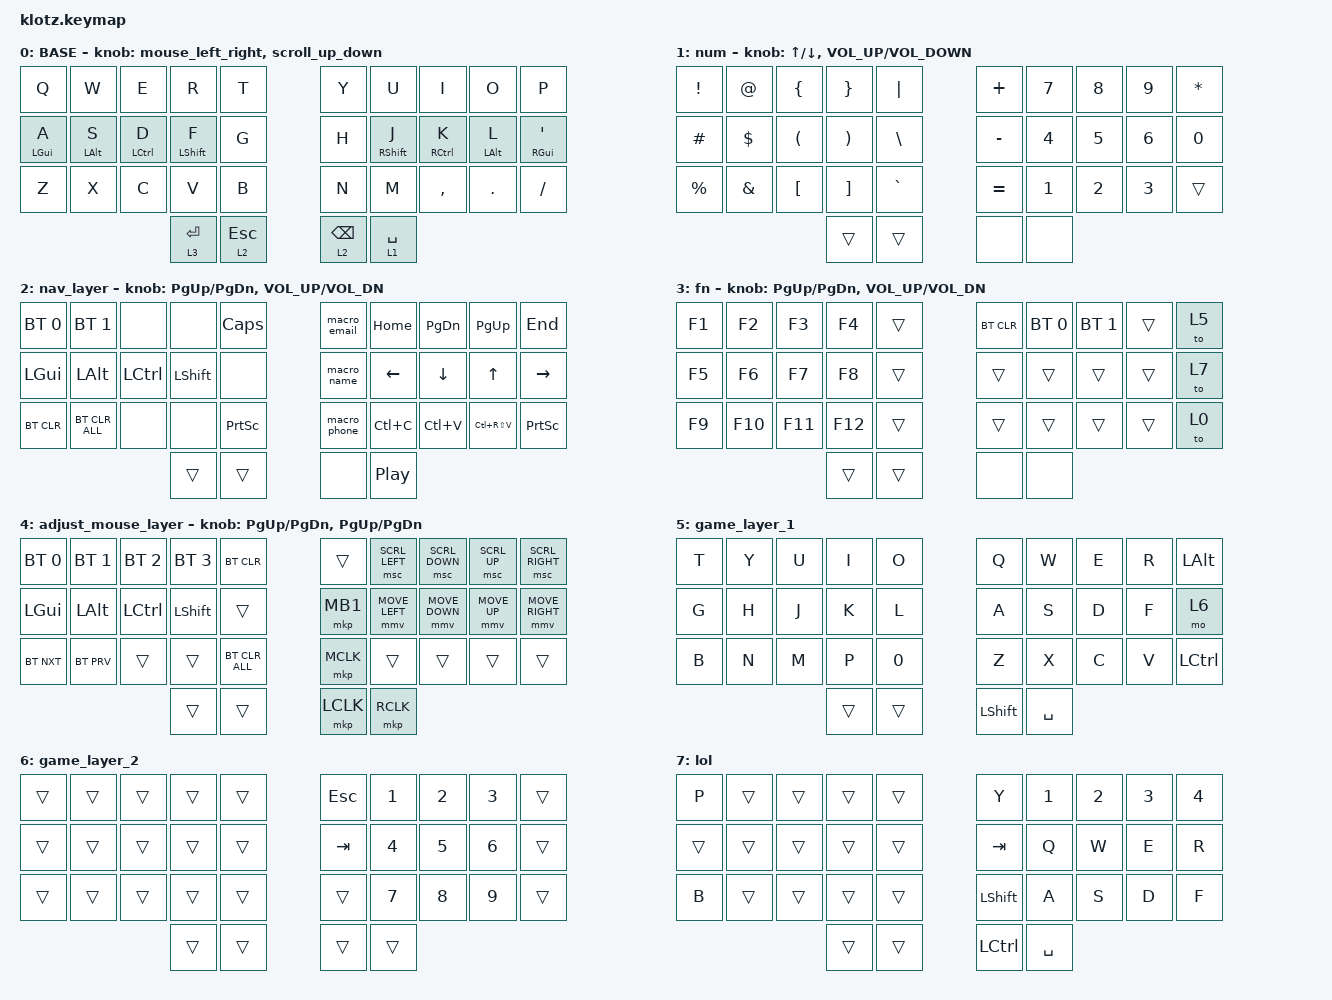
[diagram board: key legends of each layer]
//                                      █         ██        ▄▀▀▀▀▀▀▀▀▀▀█▀▀▀▀▀▀▀▀█▀▀▀▀▀▀▀▀▀▀█
//                                      █        █ █      ▄▀            ▀▄      █         █
//                                      █       █  █    ▄▀                ▀▄    █        █
//                                      █      █   █   █                    █   █       █
//                                      █     █    █   █                    █   █      █
//                                      █    █     █   █                    █   █  ▀▀▀█▀▀▀▀
//                                      █   █ █    █   █                    █   █    █
//                                      █  █   █   █   █                    █   █   █
//                                      █ █     █  █    ▀▄                ▄▀    █  █
//                                      ██       █ █      ▀▄            ▄▀      █ █
//                                      █         ██▄▄▄▄▄▄▄▄█▄▄▄▄▄▄▄▄▄▄▀        ██▄▄▄▄▄▄▄▄▄▄
//
// ▄▄▄▄▄▄▄▄▄▄▄▄▄▄▄▄▄▄▄▄▄▄▄▄▄▄▄▄▄▄▄▄▄▄▄▄▄▄▄▄▄▄▄▄▄▄▄▄▄▄▄▄▄▄▄▄▄▄▄▄▄▄▄▄▄▄▄▄▄▄▄▄▄▄▄▄▄▄▄▄▄▄▄▄▄▄▄▄▄▄▄▄▄▄▄▄▄▄▄▄▄▄▄▄▄▄▄▄▄▄▄▄▄▄▄▄▄▄▄▄▄▄▄▄▄

#include <behaviors.dtsi>
#include <dt-bindings/zmk/bt.h>
#include <dt-bindings/zmk/keys.h>
#include <dt-bindings/zmk/pointing.h>

#define ZMK_POINTING_DEFAULT_MOVE_VAL 2000  // default: 600
#define ZMK_POINTING_DEFAULT_SCRL_VAL 30   // default: 10
#define ZMK_MOUSE_SCRL_VAL 120
#define BASE 0
#define NAV  1
#define SYM  2
#define ADJ  3
#define JMP  4
#define OSL  5
#define COMBOMS 25

/ {
    combos {
        // BASE

        compatible = "zmk,combos";
        compatible = "zmk,combos";

        // GLOBAL

        compatible = "zmk,combos";
        compatible = "zmk,combos";
        compatible = "zmk,combos";
        compatible = "zmk,combos";
        compatible = "zmk,combos";

        combo_del {
            timeout-ms = <COMBOMS>;
            key-positions = <6 7>;
            bindings = <&kp DEL>;
            layers = <0>;
        };

        compatible = "zmk,combos";
        compatible = "zmk,combos";
        compatible = "zmk,combos";
        compatible = "zmk,combos";
        compatible = "zmk,combos";
        compatible = "zmk,combos";
        compatible = "zmk,combos";
        compatible = "zmk,combos";
        compatible = "zmk,combos";

        combo_tab {
            bindings = <&kp TAB>;
            key-positions = <22 21>;
            layers = <0>;
        };

        combo_tilde_caret {
            bindings = <&tilde_caret_morph>;
            key-positions = <18 19>;
            layers = <0>;
        };

        combo_semicolon {
            bindings = <&kp SEMICOLON>;
            key-positions = <27 28>;
            layers = <0>;
        };

        combo_caps_word {
            bindings = <&caps_word>;
            key-positions = <13 16>;
            layers = <0>;
        };

        combo_underscore {
            bindings = <&kp UNDERSCORE>;
            key-positions = <23 26>;
            layers = <0>;
        };

        combo_dash {
            bindings = <&kp MINUS>;
            key-positions = <3 6>;
            layers = <0>;
        };

        combo_three_backticks {
            bindings = <&macro_three_backticks>;
            key-positions = <24 23>;
            layers = <1>;
        };

        combo_reset_layer {
            bindings = <&to 0>;
            key-positions = <31 32>;
            layers = <5 7>;
        };

        alt_lol_combo {
            bindings = <&kp LEFT_ALT>;
            key-positions = <33 32>;
            layers = <7>;
        };

        shop_lol_combo {
            bindings = <&kp P>;
            key-positions = <5 15>;
            layers = <7>;
        };

        base_lol_combo {
            bindings = <&kp B>;
            key-positions = <25 15>;
            layers = <7>;
        };
    };

    macros {
        macro_email: email {
            compatible = "zmk,behavior-macro";
            #binding-cells = <0>;
            bindings = <&kp I &kp A &kp G &kp O &kp T &kp I &kp T &kp O &kp AT &kp G &kp M &kp A &kp I &kp L &kp DOT &kp C &kp O &kp M>;
        };

        macro_name: macro_name {
            compatible = "zmk,behavior-macro";
            #binding-cells = <0>;
            bindings = <&kp LS(I) &kp A &kp G &kp O &kp SPACE &kp LS(T) &kp I &kp T &kp O &kp SPACE &kp LS(O) &kp L &kp I &kp V &kp E &kp I &kp R &kp A>;
        };

        macro_phone: macro_phone {
            compatible = "zmk,behavior-macro";
            #binding-cells = <0>;
            bindings = <&kp N8 &kp N3 &kp N9 &kp N9 &kp N8 &kp N8 &kp N0 &kp N0 &kp N2 &kp N2 &kp N2>;
        };

        macro_three_backticks: macro_three_backticks {
            compatible = "zmk,behavior-macro";
            #binding-cells = <0>;
            bindings = <&kp GRAVE &kp GRAVE &kp GRAVE &kp GRAVE &kp GRAVE &kp GRAVE>;
            label = "MACRO_THREE_BACKTICKS";
        };
    };

    behaviors {
        skq: sticky_key_quick_release {
            compatible = "zmk,behavior-sticky-key";
            #binding-cells = <1>;
            bindings = <&kp>;
            release-after-ms = <2000>;
            quick-release;
            ignore-modifiers;
        };

        lhrm: left_home_row_mod {
            compatible = "zmk,behavior-hold-tap";
            bindings = <&kp>, <&kp>;

            #binding-cells = <2>;
            tapping-term-ms = <280>;
            quick-tap-ms = <200>;
            require-prior-idle-ms = <50>;
            flavor = "balanced";
            hold-trigger-key-positions = <5 6 7 8 9 15 16 17 18 19 25 26 27 28 29 32 33>;
            hold-trigger-on-release;
        };

        rhrm: right_home_row_mod {
            compatible = "zmk,behavior-hold-tap";
            bindings = <&kp>, <&kp>;

            #binding-cells = <2>;
            tapping-term-ms = <280>;
            quick-tap-ms = <200>;
            require-prior-idle-ms = <50>;
            flavor = "balanced";
            hold-trigger-on-release;
            hold-trigger-key-positions = <0 1 3 4 10 11 12 13 14 20 21 22 23 24 30 31 2>;
        };

        lhrs: left_home_row_shift {
            compatible = "zmk,behavior-hold-tap";
            bindings = <&kp>, <&kp>;

            #binding-cells = <2>;
            tapping-term-ms = <150>;
            quick-tap-ms = <200>;
            require-prior-idle-ms = <50>;
            flavor = "balanced";
            hold-trigger-key-positions = <5 6 7 8 9 15 16 17 18 19 25 26 27 28 29 32 33>;
        };

        rhrs: right_home_row_shift {
            compatible = "zmk,behavior-hold-tap";
            bindings = <&kp>, <&kp>;

            #binding-cells = <2>;
            tapping-term-ms = <150>;
            quick-tap-ms = <200>;
            require-prior-idle-ms = <50>;
            flavor = "balanced";
            hold-trigger-key-positions = <0 1 3 4 10 11 12 13 14 20 21 22 23 24 30 31 2>;
        };

        lkm: layer_key_mod {
            compatible = "zmk,behavior-hold-tap";
            bindings = <&mo>, <&kp>;

            #binding-cells = <2>;
            tapping-term-ms = <150>;
            quick-tap-ms = <200>;
            require-prior-idle-ms = <35>;
            flavor = "balanced";
            hold-trigger-key-positions = <0 1 3 4 10 11 12 13 14 20 21 22 23 24 2 5 6 7 8 9 15 16 17 18 19 25 26 27 28 29>;
        };

        tilde_caret_morph: tilde_caret_morph {
            compatible = "zmk,behavior-mod-morph";
            bindings = <&kp TILDE>, <&kp CARET>;

            #binding-cells = <0>;
            mods = <(MOD_LSFT|MOD_RSFT)>;
        };

        scroll_up_down: scroll_up_down {
            compatible = "zmk,behavior-sensor-rotate";
            #sensor-binding-cells = <0>;
            bindings = <&msc SCRL_UP>, <&msc SCRL_DOWN>;

            tap-ms = <50>;
        };

        mouse_left_right: mouse_left_right {
            compatible = "zmk,behavior-sensor-rotate";
            #sensor-binding-cells = <0>;
            bindings = <&mmv MOVE_X(100000)>, <&mmv MOVE_X(-100000)>;

            tap-ms = <20>;
        };
    };

    keymap {
        compatible = "zmk,keymap";

        // ▄▄▄▄▄▄▄▄▄▄▄▄▄▄▄▄▄▄▄▄▄▄▄▄▄▄▄▄▄▄▄▄▄▄▄▄▄▄▄▄▄▄▄▄▄▄▄▄▄▄▄▄▄▄▄▄▄▄▄▄▄▄▄▄▄▄▄▄▄▄▄▄▄▄▄▄▄▄▄▄▄▄▄▄▄▄▄▄▄▄▄▄▄▄▄▄▄▄▄▄▄▄▄▄▄▄▄▄▄▄▄▄▄▄▄▄▄▄▄▄▄▄▄▄▄

        base_layer {
            // ┏━━━━━━━━━━━━━━━━━━━━━━━━━━━━━━━━━━━━━━━┓

            display-name = "BASE";

            // ┗━━━━━━━━━━━━━━━━━━━━━━━━━━━━━━━━━━━━━━━┛

            bindings = <
&kp Q         &kp W         &kp E          &kp R           &kp T         &kp Y             &kp U           &kp I          &kp O             &kp P
&lhrm LGUI A  &lhrm LALT S  &lhrm LCTRL D  &lhrs LSHIFT F  &kp G         &kp H             &rhrs RSHIFT J  &rhrm RCTRL K  &rhrm LEFT_ALT L  &rhrm RGUI APOS
&kp Z         &kp X         &kp C          &kp V           &kp B         &kp N             &kp M           &kp COMMA      &kp DOT           &kp FSLH
                                           &lt 3 RETURN    &lt 2 ESCAPE  &lkm 2 BACKSPACE  &lt 1 SPACE
            >;

            sensor-bindings = <&mouse_left_right>, <&scroll_up_down>;
        };

        num_layer {
            // ┏━━━━━━━━━━━━━━━━━━━━━━━━━━━━━━━━━━━━━━━┓

            display-name = "num";

            // ┗━━━━━━━━━━━━━━━━━━━━━━━━━━━━━━━━━━━━━━━┛

            bindings = <
&kp EXCLAMATION  &kp AT_SIGN    &kp LEFT_BRACE        &kp RIGHT_BRACE        &kp PIPE       &kp PLUS   &kp N7  &kp N8  &kp N9  &kp ASTERISK
&kp HASH         &kp DOLLAR     &kp LEFT_PARENTHESIS  &kp RIGHT_PARENTHESIS  &kp BACKSLASH  &kp MINUS  &kp N4  &kp N5  &kp N6  &kp N0
&kp PERCENT      &kp AMPERSAND  &kp LEFT_BRACKET      &kp RIGHT_BRACKET      &kp GRAVE      &kp EQUAL  &kp N1  &kp N2  &kp N3  &trans
                                                      &trans                 &trans         &none      &none
            >;

            sensor-bindings =
                <&inc_dec_kp UP_ARROW DOWN_ARROW>,
                <&inc_dec_kp C_VOLUME_UP C_VOLUME_DOWN>;
        };

        nav_layer {
            bindings = <
&bt BT_SEL 0  &bt BT_SEL 1    &none      &none      &kp CAPSLOCK     &macro_email  &kp HOME          &kp PAGE_DOWN   &kp PAGE_UP    &kp END
&kp LEFT_GUI  &kp LALT        &kp LCTRL  &kp LSHFT  &none            &macro_name   &kp LEFT_ARROW    &kp DOWN_ARROW  &kp UP_ARROW   &kp RIGHT_ARROW
&bt BT_CLR    &bt BT_CLR_ALL  &none      &none      &kp PRINTSCREEN  &macro_phone  &kp LC(C)         &kp LC(V)       &kp LC(RS(V))  &kp PRINTSCREEN
                                         &trans     &trans           &none         &kp C_PLAY_PAUSE
            >;

            sensor-bindings =
                <&inc_dec_kp PG_UP PAGE_DOWN>,
                <&inc_dec_kp C_VOLUME_UP C_VOL_DN>;
        };

        fn_layer {
            // ┏━━━━━━━━━━━━━━━━━━━━━━━━━━━━━━━━━━━━━━━┓

            display-name = "fn";

            // ┗━━━━━━━━━━━━━━━━━━━━━━━━━━━━━━━━━━━━━━━┛

            bindings = <
&kp F1  &kp F2   &kp F3   &kp F4   &trans  &bt BT_CLR  &bt BT_SEL 0  &bt BT_SEL 1  &trans  &to 5
&kp F5  &kp F6   &kp F7   &kp F8   &trans  &trans      &trans        &trans        &trans  &to 7
&kp F9  &kp F10  &kp F11  &kp F12  &trans  &trans      &trans        &trans        &trans  &to 0
                          &trans   &trans  &none       &none
            >;

            sensor-bindings =
                <&inc_dec_kp PG_UP PAGE_DOWN>,
                <&inc_dec_kp C_VOL_UP C_VOL_DN>;
        };

        adjust_mouse_layer {
            bindings = <
&bt BT_SEL 0  &bt BT_SEL 1  &bt BT_SEL 2  &bt BT_SEL 3  &bt BT_CLR      &trans     &msc SCRL_LEFT  &msc SCRL_DOWN  &msc SCRL_UP  &msc SCRL_RIGHT
&kp LGUI      &kp LALT      &kp LCTRL     &kp LSHFT     &trans          &mkp MB1   &mmv MOVE_LEFT  &mmv MOVE_DOWN  &mmv MOVE_UP  &mmv MOVE_RIGHT
&bt BT_NXT    &bt BT_PRV    &trans        &trans        &bt BT_CLR_ALL  &mkp MCLK  &trans          &trans          &trans        &trans
                                          &trans        &trans          &mkp LCLK  &mkp RCLK
            >;

            sensor-bindings =
                <&inc_dec_kp PG_UP PAGE_DOWN>,
                <&inc_dec_kp PAGE_UP PAGE_DOWN>;
        };

        game_layer_1 {
            bindings = <
&kp T  &kp Y  &kp U  &kp I   &kp O   &kp Q      &kp W      &kp E  &kp R  &kp LALT
&kp G  &kp H  &kp J  &kp K   &kp L   &kp A      &kp S      &kp D  &kp F  &mo 6
&kp B  &kp N  &kp M  &kp P   &kp N0  &kp Z      &kp X      &kp C  &kp V  &kp LCTRL
                     &trans  &trans  &kp LSHFT  &kp SPACE
            >;
        };

        game_layer_2 {
            bindings = <
&trans  &trans  &trans  &trans  &trans  &kp ESC  &kp N1  &kp N2  &kp N3  &trans
&trans  &trans  &trans  &trans  &trans  &kp TAB  &kp N4  &kp N5  &kp N6  &trans
&trans  &trans  &trans  &trans  &trans  &trans   &kp N7  &kp N8  &kp N9  &trans
                        &trans  &trans  &trans   &trans
            >;
        };

        lol {
            bindings = <
&kp P   &trans  &trans  &trans  &trans  &kp Y      &kp N1     &kp N2  &kp N3  &kp N4
&trans  &trans  &trans  &trans  &trans  &kp TAB    &kp Q      &kp W   &kp E   &kp R
&kp B   &trans  &trans  &trans  &trans  &kp LSHFT  &kp A      &kp S   &kp D   &kp F
                        &trans  &trans  &kp LCTRL  &kp SPACE
            >;
        };
    };
};
